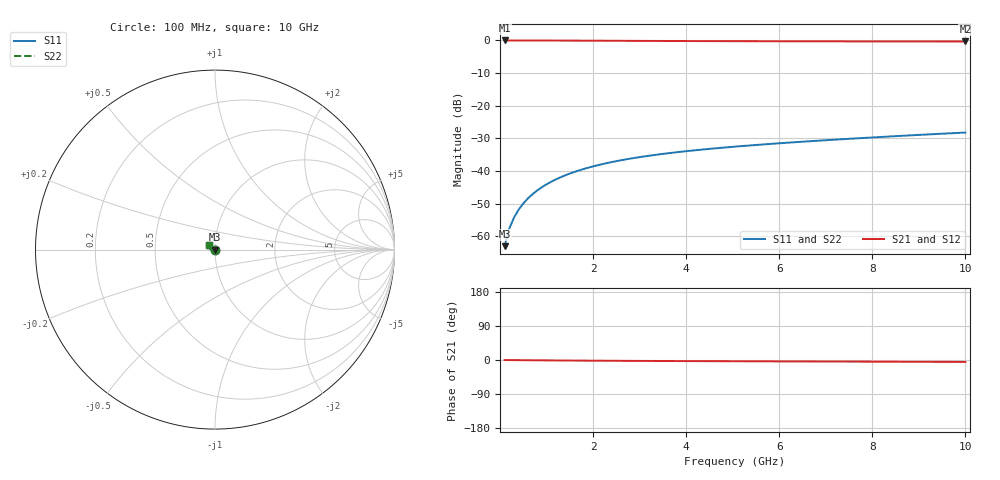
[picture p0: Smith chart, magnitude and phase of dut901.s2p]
! Touchstone file exported from HFSS 2024.1.0
!  File:  C:/UserFiles/LocalFiles/RDL_TSV_Batchsim/temp_TSV1_901_1779944316.aedt
!  Generated:  01:03:16 PM May 28, 2026
!  Design:  TSV1
!  Project:  temp_TSV1_901_1779944316
!  Setup:  Setup1
!  Solution:  Sweep
! Variables:
!  dtsv = 6.6um
!  hbump = 3um
!  htsv = 73.95um
!  lrdl = 252.1521522um
!  p = 40
!  p1 = 55.06um
!  t = 500um
!  trdl = 3um
!  wrdl = 24.89489489um
# GHz S MA R 50.000000
! Terminal data exported
! Port[1] = TSV22_T1
! Port[2] = TSV22_T2
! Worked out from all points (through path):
!   100 points, 100 MHz to 10 GHz, reference 50 ohm
!   highest |S21| = 0.00 dB at 100 MHz (marker M1); lowest = -0.3 dB at 10 GHz (marker M2)
!   lowest |S11| = -63.0 dB at 100 MHz (marker M3), VSWR 1.00, Z = 50 - j0.065 ohm
!   |S11| at or under -10 dB: start of sweep to end of sweep
!   |S22| runs from -63.0 to -28.2 dB; largest |S21 - S12| = 3e-15
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0.1  0.0007092 -66.3  0.9997 -0.1  0.9997 -0.1  0.0007092 -66.3
! Gamma 0 0 0 0
! Port Impedance 50 0 50 0
0.2  0.001311 -81.1  0.9996 -0.2  0.9996 -0.2  0.001311 -81.1
0.3  0.001934 -88.0  0.9994 -0.3  0.9994 -0.3  0.001934 -88.0
0.4  0.002561 -92.7  0.9992 -0.4  0.9992 -0.4  0.002561 -92.7
0.5  0.003188 -96.5  0.999 -0.5  0.999 -0.5  0.003188 -96.5
0.6  0.003813 -99.7  0.9987 -0.6  0.9987 -0.6  0.003813 -99.7
0.7  0.004435 -102.7  0.9983 -0.7  0.9983 -0.7  0.004435 -102.7
0.8  0.005052 -105.5  0.9979 -0.8  0.9979 -0.8  0.005052 -105.5
0.9  0.005663 -108.2  0.9975 -0.9  0.9975 -0.9  0.005663 -108.2
1.1  0.006863 -113.2  0.9965 -1.1  0.9965 -1.1  0.006863 -113.2
1.4  0.0086 -120.2  0.9949 -1.3  0.9949 -1.3  0.008599 -120.2
1.6  0.009709 -124.7  0.9937 -1.5  0.9937 -1.5  0.009709 -124.7
1.8  0.01078 -128.9  0.9924 -1.7  0.9924 -1.7  0.01078 -128.9
2.1  0.0123 -135.0  0.9905 -1.9  0.9905 -1.9  0.0123 -135.0
2.5  0.0142 -142.6  0.9878 -2.1  0.9878 -2.1  0.0142 -142.6
2.9  0.01594 -149.6  0.9853 -2.4  0.9853 -2.4  0.01594 -149.6
3.4  0.01795 -157.7  0.9823 -2.6  0.9823 -2.6  0.01795 -157.7
4.2  0.02086 -169.0  0.9781 -3.0  0.9781 -3.0  0.02086 -169.0
5.1  0.02384 -179.9  0.9744 -3.3  0.9744 -3.3  0.02384 -179.9
6.7  0.02879 164.8  0.9696 -3.9  0.9696 -3.9  0.02879 164.8
8.4  0.03396 152.4  0.9663 -4.5  0.9663 -4.5  0.03396 152.4
10  0.03893 143.4  0.964 -5.1  0.964 -5.1  0.03893 143.4
